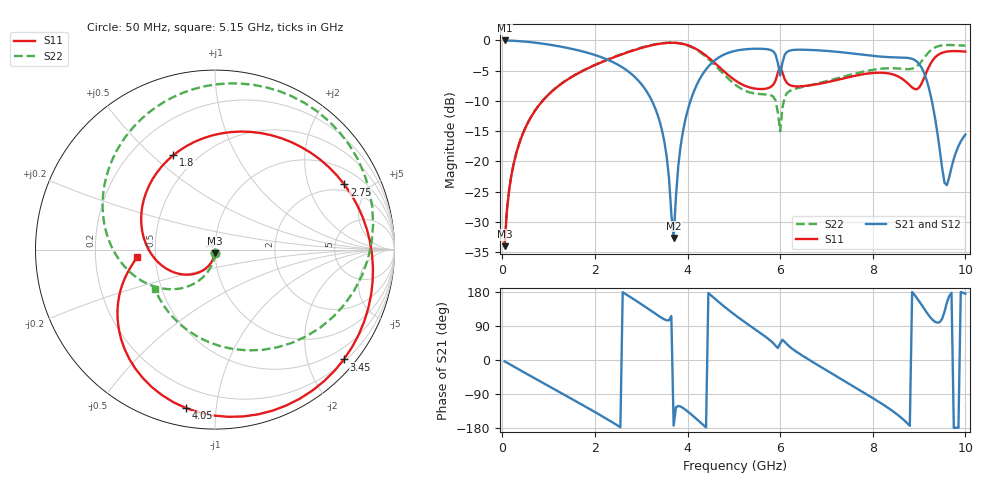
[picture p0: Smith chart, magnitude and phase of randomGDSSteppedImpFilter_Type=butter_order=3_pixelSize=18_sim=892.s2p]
! freq	dB(S11)	phase(S11)	dB(S12)	phase(S12)
!  dB(S21)	phase(S21)	dB(S22)	phase(S22)
!S-par simulation data
#  GHz  S  DB  R 50
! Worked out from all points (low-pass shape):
!   200 points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, 50 MHz to 10 GHz, reference 50 ohm
!   highest |S21| = -0.02 dB at 50 MHz (marker M1); lowest = -32.7 dB at 3.7 GHz (marker M2)
!   |S21| within 3 dB of the highest: start of sweep to 2.217 GHz; 6.074 GHz to 8.829 GHz (2.755 GHz wide, 37 % of centre) (the widest 2 of 3)
!   lowest |S11| = -34.0 dB at 50 MHz (marker M3), VSWR 1.04, Z = 49.9 - j1.99 ohm
!   |S11| at or under -10 dB: start of sweep to 871.4 MHz
!   |S22| runs from -34.0 to -0.4 dB; largest |S21 - S12| = 0
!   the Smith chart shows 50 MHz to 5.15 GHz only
!   S11 on the Smith chart (normalised r, x): 50 MHz: 1.00, -0.04; 1.8 GHz: 0.37, +0.59; 2.75 GHz: 1.66, +3.46; 3.45 GHz: 0.24, -2.69; 4.05 GHz: 0.09, -0.83; 5.15 GHz: 0.39, -0.04
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0.05  -34.03 -91.2  -0.02 -3.5  -0.02 -3.5  -33.99 -89.6
0.5  -14.45 -133.3  -0.21 -34.7  -0.21 -34.7  -14.41 -116.8
1.75  -5.00 118.2  -1.86 -119.8  -1.86 -119.8  -4.95 -179.4
1.8  -4.81 113.8  -1.96 -123.3  -1.96 -123.3  -4.76 178.1
2.75  -1.86 26.7  -5.32 167.3  -5.32 167.3  -1.80 125.8
3.4  -0.56 -35.5  -13.44 114.5  -13.44 114.5  -0.52 77.2
3.45  -0.51 -40.5  -14.92 110.7  -14.92 110.7  -0.46 72.7
3.7  -0.40 -65.3  -32.68 -173.3  -32.68 -173.3  -0.39 48.6
4.05  -0.93 -100.3  -10.33 -140.4  -10.33 -140.4  -0.99 9.0
4.55  -3.49 -144.2  -3.55 165.9  -3.55 165.9  -3.80 -57.4
5.05  -6.72 -170.8  -1.70 116.6  -1.70 116.6  -7.44 -131.8
5.15  -7.18 -174.3  -1.57 107.6  -1.57 107.6  -7.95 -147.1
5.85  -7.34 163.8  -1.82 44.5  -1.82 44.5  -9.30 98.0
6  -4.37 144.1  -5.81 43.4  -5.81 43.4  -15.05 -67.4
6.7  -7.37 86.8  -1.60 -5.2  -1.60 -5.2  -7.32 82.4
7.65  -5.80 -2.0  -2.25 -74.6  -2.25 -74.6  -5.43 33.0
8.35  -5.48 -76.1  -2.78 -128.0  -2.78 -128.0  -4.61 2.9
8.85  -7.79 -174.4  -3.06 179.4  -3.06 179.4  -4.69 -7.6
9.1  -6.35 77.5  -5.24 137.2  -5.24 137.2  -3.00 -8.1
9.4  -2.46 -18.3  -15.54 98.3  -15.54 98.3  -0.99 -26.4
9.6  -1.86 -54.7  -23.95 151.5  -23.95 151.5  -0.77 -38.7
10  -1.86 -102.6  -15.58 175.1  -15.58 175.1  -0.87 -57.2
